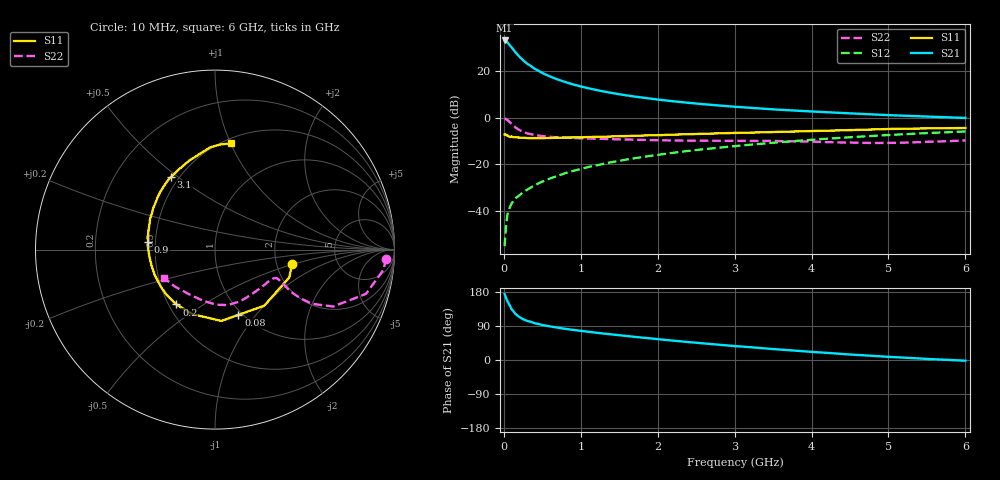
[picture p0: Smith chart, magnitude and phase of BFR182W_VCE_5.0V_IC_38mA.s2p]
! Infineon Technologies  Discrete & RF Semiconductors
! BFR182W
! VCE =  5.0 V,  IC =  38 mA
! Common Emitter S-Parameters:  Jan 2017
# GHz  S  MA  R  50
!  f  S11  S21  S12  S22
! GHz  MAG  ANG  MAG  ANG  MAG  ANG  MAG  ANG
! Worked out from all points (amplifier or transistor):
!   77 points, 10 MHz to 6 GHz, reference 50 ohm
!   highest |S21| = 32.9 dB at 10 MHz (marker M1)
!   |S21| within 3 dB of that: start of sweep to 102.3 MHz
!   unconditionally stable (mu >= 1): 519.4 MHz to 2.205 GHz
!   at 130 MHz: K = 0.56, MSG = 32.0 dB, |S12| = -35.3 dB
!   at 2.2 GHz: K = 1.00, MAG = 10.9 dB, |S12| = -15.1 dB
!   at 6 GHz: K = 0.86, MSG = 2.9 dB, |S12| = -5.9 dB
!   S11 on the Smith chart (normalised r, x): 10 MHz: 2.44, -0.47; 80 MHz: 0.96, -0.82; 200 MHz: 0.55, -0.39; 900 MHz: 0.46, +0.05; 3.1 GHz: 0.45, +0.47; 6 GHz: 0.55, +1.01
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0.01  0.4367 -10.3  44.13 173.9  0.0018 87.1  0.9559 -3.0
0.02  0.4422 -20.5  43.92 168.6  0.0032 90.6  0.9446 -6.9
0.05  0.416 -48.7  39.83 153.2  0.0089 74.1  0.8772 -16.3
0.08  0.3864 -70.2  34.41 142.8  0.0123 68.7  0.787 -21.5
0.1  0.399 -84.9  31.59 134.1  0.0146 66.5  0.7312 -25.7
0.15  0.3809 -109.2  24.84 121.8  0.0189 62.7  0.6178 -29.2
0.2  0.3736 -125.2  20.06 113.6  0.0217 64.9  0.5448 -29.7
0.25  0.3692 -136.9  16.74 107.6  0.0256 65.1  0.4958 -29.2
0.3  0.3659 -145.2  14.24 103.5  0.0287 66.8  0.4616 -28.3
0.4  0.3646 -157.1  11.02 97.1  0.0357 69.3  0.423 -26.6
0.5  0.3645 -165.8  8.924 92.4  0.043 71.0  0.4011 -25.6
0.6  0.3668 -172.3  7.519 88.6  0.0501 71.7  0.3871 -25.0
0.7  0.3701 -177.9  6.486 85.3  0.057 73.4  0.3778 -24.9
0.9  0.3754 173.5  5.086 79.5  0.0725 73.5  0.3657 -25.9
1.1  0.3832 166.3  4.212 74.5  0.0883 74.1  0.3577 -27.6
1.3  0.3896 159.9  3.592 69.7  0.1033 73.8  0.35 -29.9
1.5  0.4003 154.7  3.143 65.4  0.1194 72.9  0.3426 -33.0
2.1  0.4252 140.4  2.322 53.1  0.1683 69.8  0.3261 -44.6
3.1  0.473 121.1  1.658 35.4  0.254 62.1  0.3177 -68.1
4.1  0.5196 104.9  1.322 20.1  0.3437 52.9  0.3028 -91.5
5.1  0.573 91.6  1.109 7.3  0.4317 42.4  0.2887 -123.7
6  0.5985 81.3  0.979 -1.9  0.5047 32.5  0.3254 -151.2
